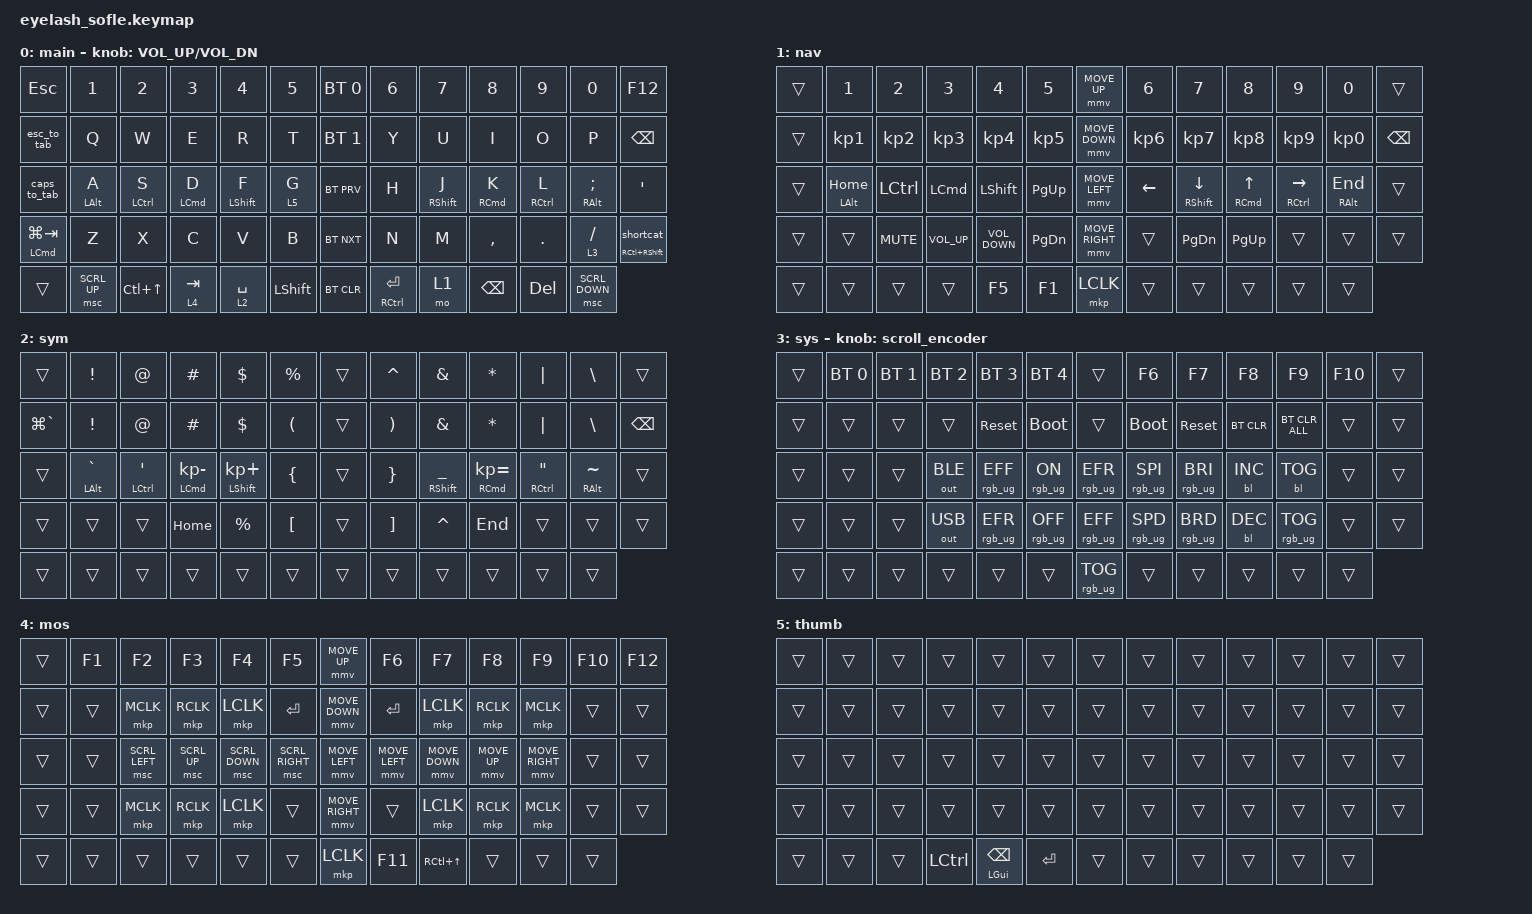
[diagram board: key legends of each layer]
#define ZMK_POINTING_DEFAULT_MOVE_VAL 1200  // 600
#define ZMK_POINTING_DEFAULT_SCRL_VAL 25   // 10

#include <input/processors.dtsi>
#include <zephyr/dt-bindings/input/input-event-codes.h>
#include <behaviors.dtsi>
#include <dt-bindings/zmk/backlight.h>
#include <dt-bindings/zmk/bt.h>
#include <dt-bindings/zmk/keys.h>
#include <dt-bindings/zmk/outputs.h>
#include <dt-bindings/zmk/pointing.h>
#include <dt-bindings/zmk/rgb.h>

&mmv_input_listener { input-processors = <&zip_xy_scaler 2 1>; };

&msc_input_listener { input-processors = <&zip_scroll_scaler 2 1>; };

&msc {
    acceleration-exponent = <1>;      // 0
    time-to-max-speed-ms = <100>;       // 300
    delay-ms = <0>;                   // 0
};

&mmv {
    time-to-max-speed-ms = <500>;
    acceleration-exponent = <1>;
    trigger-period-ms = <16>;
};

&soft_off { hold-time-ms = <2000>; };

&lt { flavor = "balanced"; };

&mt { flavor = "balanced"; };

/ {
    scroll_encoder: scroll_encoder {
        compatible = "zmk,behavior-sensor-rotate";
        #sensor-binding-cells = <0>;
        bindings = <&msc SCRL_DOWN>, <&msc SCRL_UP>;

        tap-ms = <100>;
    };

    hrm_left: hrm_left {
        compatible = "zmk,behavior-hold-tap";
        bindings = <&kp>, <&kp>;

        #binding-cells = <2>;
        tapping-term-ms = <130>;
        quick-tap-ms = <130>;
        hold-trigger-key-positions = <7 8 9 10 11 12 20 21 22 23 24 25 33 34 35 36 37 38 46 47 48 49 50 51 60 61 62 63 59>;
        flavor = "tap-preferred";
    };

    hrm_right: hrm_right {
        compatible = "zmk,behavior-hold-tap";
        bindings = <&kp>, <&kp>;

        #binding-cells = <2>;
        quick-tap-ms = <130>;
        tapping-term-ms = <130>;
        hold-trigger-key-positions = <0 1 13 14 15 16 17 18 28 29 30 31 0 1 2 3 4 5 13 14 15 16 17 18 26 27 28 29 30 31 39 40 41 42 43 44 52 53 54 55 56 57>;
        flavor = "tap-preferred";
    };

    esc_to_tab: esc_to_tab {
        compatible = "zmk,behavior-mod-morph";
        bindings = <&kp ESCAPE>, <&kp TAB>;

        #binding-cells = <0>;
        mods = <(MOD_LGUI|MOD_LCTL)>;
        keep-mods = <(MOD_LGUI|MOD_LCTL)>;
    };

    shortcat_combo: shortcat_combo {
        compatible = "zmk,behavior-hold-tap";
        bindings = <&kp>, <&shortcat>;

        #binding-cells = <2>;
        tapping-term-ms = <150>;
        quick-tap-ms = <150>;
        flavor = "tap-preferred";
        hold-trigger-key-positions = <0 1 2 4 5 6 13 14 15 16 17 18 19 26 27 28 29 30 31 32 39 40 41 42 43 44 52 53 54 55 56 57 58>;
    };

    caps_to_tab: caps_to_tab {
        compatible = "zmk,behavior-mod-morph";
        bindings = <&kp CAPS>, <&kp TAB>;

        #binding-cells = <0>;
        mods = <(MOD_RGUI|MOD_LGUI|MOD_RCTL)>;
        keep-mods = <(MOD_RGUI|MOD_LGUI|MOD_RCTL)>;
    };

    shift_to_tab: shift_to_tab {
        compatible = "zmk,behavior-mod-morph";
        bindings = <&kp LSHFT>, <&kp TAB>;

        #binding-cells = <0>;
        mods = <(MOD_RGUI|MOD_LGUI|MOD_RCTL)>;
        keep-mods = <(MOD_RGUI|MOD_LGUI|MOD_RCTL)>;
    };

    mthl: mthl {
        compatible = "zmk,behavior-hold-tap";
        label = "MTHL";
        bindings = <&kp>, <&kp>;

        #binding-cells = <2>;
        tapping-term-ms = <150>;
        hold-trigger-key-positions = <7 8 9 10 11 12 20 21 22 23 24 25 33 34 35 36 37 38 46 47 48 49 50 51 60 61 62 63 59>;
        quick-tap-ms = <150>;
    };

    behaviors {
    };

    combos {
        compatible = "zmk,combos";

        lockmac {
            bindings = <&screenlock>;
            key-positions = <61 12>;
        };

        tog_layer_4 {
            bindings = <&tog 4>;
            key-positions = <61 11>;
        };

        restart {
            bindings = <&sys_reset>;
            key-positions = <12 0>;
        };
    };

    macros {
        screenlock: screenlock {
            compatible = "zmk,behavior-macro";
            #binding-cells = <0>;
            bindings =
                <&macro_press>,
                <&kp LCMD>,
                <&macro_press>,
                <&kp LCTRL>,
                <&macro_tap>,
                <&kp Q>,
                <&macro_release>,
                <&kp LCMD>,
                <&macro_release>,
                <&kp LCTRL>;
        };

        shortcat: shortcat {
            compatible = "zmk,behavior-macro";
            #binding-cells = <0>;
            bindings =
                <&macro_press>,
                <&kp LCMD>,
                <&macro_press>,
                <&kp LSHFT>,
                <&macro_tap>,
                <&kp SPACE>,
                <&macro_release>,
                <&kp LCMD>,
                <&macro_release>,
                <&kp LSHFT>;
        };
    };

    keymap {
        compatible = "zmk,keymap";

        main {
            bindings = <
&kp ESCAPE          &kp N1            &kp N2             &kp N3            &kp N4             &kp N5       &bt BT_SEL 0  &kp N6           &kp N7              &kp N8             &kp N9              &kp N0                     &kp F12
&esc_to_tab         &kp Q             &kp W              &kp E             &kp R              &kp T        &bt BT_SEL 1  &kp Y            &kp U               &kp I              &kp O               &kp P                      &kp BACKSPACE
&caps_to_tab        &hrm_left LALT A  &hrm_left LCTRL S  &hrm_left LCMD D  &hrm_left LSHFT F  &lt 5 G      &bt BT_PRV    &kp H            &hrm_right RSHFT J  &hrm_right RCMD K  &hrm_right RCTRL L  &hrm_right RALT SEMICOLON  &kp APOS
&mthl LCMD LG(TAB)  &kp Z             &kp X              &kp C             &kp V              &kp B        &bt BT_NXT    &kp N            &kp M               &kp COMMA          &kp DOT             &lt 3 SLASH                &shortcat_combo RC(RIGHT_SHIFT) 0
&trans              &msc SCRL_UP      &kp LC(UP_ARROW)   &lt 4 TAB         &lt 2 SPACE        &kp LSHFT    &bt BT_CLR    &mt RCTRL ENTER  &mo 1               &kp BACKSPACE      &kp DEL             &msc SCRL_DOWN
            >;

            sensor-bindings = <&inc_dec_kp C_VOLUME_UP C_VOL_DN>;
            display-name = "main";
            label = "main";
        };

        navigation {
            bindings = <
&trans  &kp NUMBER_1         &kp NUMBER_2     &kp NUMBER_3     &kp NUMBER_4       &kp N5             &mmv MOVE_UP     &kp NUMBER_6     &kp N7                       &kp N8                    &kp N9                  &kp N0               &trans
&trans  &kp KP_NUMBER_1      &kp KP_NUMBER_2  &kp KP_NUMBER_3  &kp KP_NUMBER_4    &kp KP_NUMBER_5    &mmv MOVE_DOWN   &kp KP_NUMBER_6  &kp KP_NUMBER_7              &kp KP_NUMBER_8           &kp KP_NUMBER_9         &kp KP_NUMBER_0      &kp BACKSPACE
&trans  &hrm_left LALT HOME  &kp LCTRL        &kp LCMD         &kp LSHFT          &kp PAGE_UP        &mmv MOVE_LEFT   &kp LEFT_ARROW   &hrm_right RSHFT DOWN_ARROW  &hrm_right RCMD UP_ARROW  &hrm_right RCTRL RIGHT  &hrm_right RALT END  &trans
&trans  &trans               &kp K_MUTE       &kp C_VOLUME_UP  &kp C_VOLUME_DOWN  &kp PAGE_DOWN      &mmv MOVE_RIGHT  &trans           &kp PAGE_DOWN                &kp PAGE_UP               &trans                  &trans               &trans
&trans  &trans               &trans           &trans           &kp F5             &kp F1             &mkp LCLK        &trans           &trans                       &trans                    &trans                  &trans
            >;

            display-name = "nav";
        };

        symbol {
            bindings = <
&trans         &kp EXCLAMATION       &kp AT_SIGN          &kp HASH                 &kp DOLLAR               &kp PERCENT             &trans  &kp CARET              &kp AMPERSAND                &kp ASTERISK              &kp PIPE                        &kp BACKSLASH          &trans
&kp LG(GRAVE)  &kp EXCLAMATION       &kp AT_SIGN          &kp HASH                 &kp DOLLAR               &kp LEFT_PARENTHESIS    &trans  &kp RIGHT_PARENTHESIS  &kp AMPERSAND                &kp ASTERISK              &kp PIPE                        &kp BACKSLASH          &kp BACKSPACE
&trans         &hrm_left LALT GRAVE  &hrm_left LCTRL SQT  &hrm_left LCMD KP_MINUS  &hrm_left LSHFT KP_PLUS  &kp LEFT_BRACE          &trans  &kp RIGHT_BRACE        &hrm_right RSHFT UNDERSCORE  &hrm_right RCMD KP_EQUAL  &hrm_right RCTRL DOUBLE_QUOTES  &hrm_right RALT TILDE  &trans
&trans         &trans                &trans               &kp HOME                 &kp PERCENT              &kp LEFT_BRACKET        &trans  &kp RIGHT_BRACKET      &kp CARET                    &kp END                   &trans                          &trans                 &trans
&trans         &trans                &trans               &trans                   &trans                   &trans                  &trans  &trans                 &trans                       &trans                    &trans                          &trans
            >;

            display-name = "sym";
        };

        system {
            bindings = <
&trans  &bt BT_SEL 0  &bt BT_SEL 1  &bt BT_SEL 2  &bt BT_SEL 3     &bt BT_SEL 4       &trans           &kp F6           &kp F7           &kp F8      &kp F9           &kp F10  &trans
&trans  &trans        &trans        &trans        &sys_reset       &bootloader        &trans           &bootloader      &sys_reset       &bt BT_CLR  &bt BT_CLR_ALL   &trans   &trans
&trans  &trans        &trans        &out OUT_BLE  &rgb_ug RGB_EFF  &rgb_ug RGB_ON     &rgb_ug RGB_EFR  &rgb_ug RGB_SPI  &rgb_ug RGB_BRI  &bl BL_INC  &bl BL_TOG       &trans   &trans
&trans  &trans        &trans        &out OUT_USB  &rgb_ug RGB_EFR  &rgb_ug RGB_OFF    &rgb_ug RGB_EFF  &rgb_ug RGB_SPD  &rgb_ug RGB_BRD  &bl BL_DEC  &rgb_ug RGB_TOG  &trans   &trans
&trans  &trans        &trans        &trans        &trans           &trans             &rgb_ug RGB_TOG  &trans           &trans           &trans      &trans           &trans
            >;

            display-name = "sys";
            sensor-bindings = <&scroll_encoder>;
        };

        mouse {
            display-name = "mos";
            bindings = <
&trans  &kp F1  &kp F2          &kp F3        &kp F4          &kp F5             &mmv MOVE_UP     &kp F6          &kp F7            &kp F8        &kp F9           &kp F10  &kp F12
&trans  &trans  &mkp MCLK       &mkp RCLK     &mkp LCLK       &kp ENTER          &mmv MOVE_DOWN   &kp ENTER       &mkp LCLK         &mkp RCLK     &mkp MCLK        &trans   &trans
&trans  &trans  &msc SCRL_LEFT  &msc SCRL_UP  &msc SCRL_DOWN  &msc SCRL_RIGHT    &mmv MOVE_LEFT   &mmv MOVE_LEFT  &mmv MOVE_DOWN    &mmv MOVE_UP  &mmv MOVE_RIGHT  &trans   &trans
&trans  &trans  &mkp MCLK       &mkp RCLK     &mkp LCLK       &trans             &mmv MOVE_RIGHT  &trans          &mkp LCLK         &mkp RCLK     &mkp MCLK        &trans   &trans
&trans  &trans  &trans          &trans        &trans          &trans             &mkp LCLK        &kp F11         &kp RC(UP_ARROW)  &trans        &trans           &trans
            >;
        };

        thumb {
            display-name = "thumb";
            bindings = <
&trans  &trans  &trans  &trans     &trans                    &trans       &trans  &trans  &trans  &trans  &trans  &trans  &trans
&trans  &trans  &trans  &trans     &trans                    &trans       &trans  &trans  &trans  &trans  &trans  &trans  &trans
&trans  &trans  &trans  &trans     &trans                    &trans       &trans  &trans  &trans  &trans  &trans  &trans  &trans
&trans  &trans  &trans  &trans     &trans                    &trans       &trans  &trans  &trans  &trans  &trans  &trans  &trans
&trans  &trans  &trans  &kp LCTRL  &hrm_left LGUI BACKSPACE  &kp ENTER    &trans  &trans  &trans  &trans  &trans  &trans
            >;
        };
    };
};
